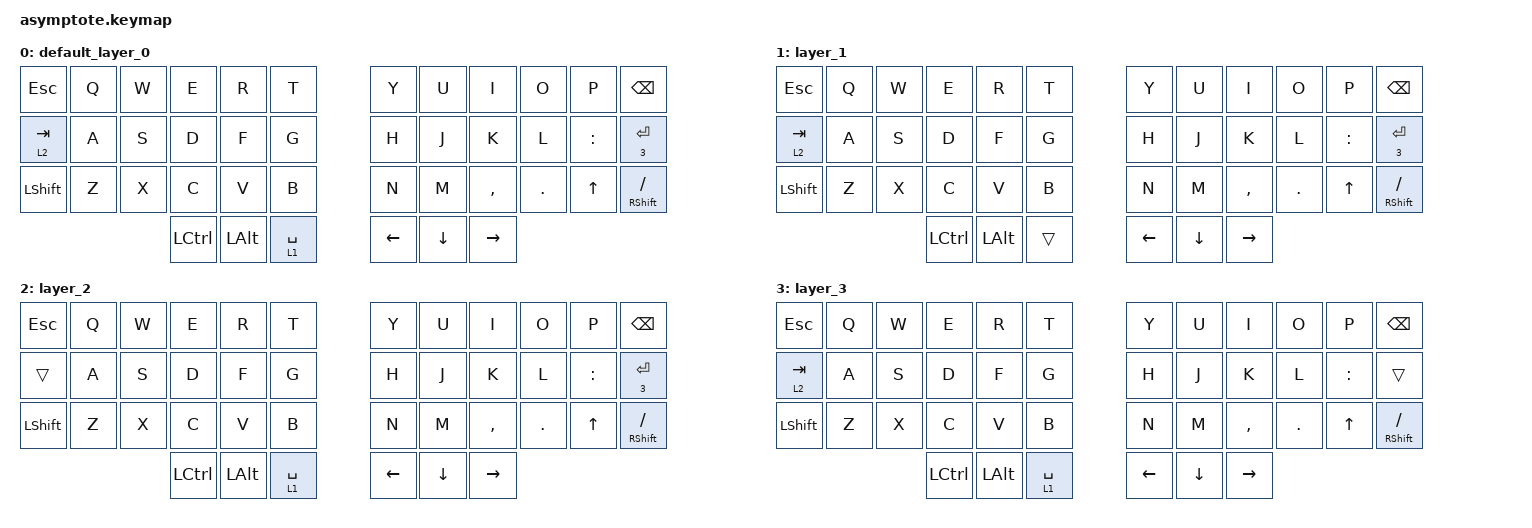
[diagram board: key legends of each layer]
/*
 * Copyright (c) 2020 The ZMK Contributors
 *
 * SPDX-License-Identifier: MIT
 */

#include <behaviors.dtsi>
#include <dt-bindings/zmk/keys.h>
#include <dt-bindings/zmk/bt.h>
#include <dt-bindings/zmk/outputs.h>

&mt {
    tapping-term-ms = <200>; 
};
&lt {
    quick-tap-ms = <400>;
};

/ {
    keymap {
        compatible = "zmk,keymap";

        default_layer_0 {
            bindings = <
    &kp ESC      &kp Q       &kp W       &kp E       &kp R       &kp T       &kp Y       &kp U       &kp I       &kp O       &kp P       &kp BSPC     
    &lt 2 TAB     &kp A       &kp S       &kp D       &kp F       &kp G       &kp H       &kp J       &kp K       &kp L       &kp COLON   &mt 3 RET     
    &kp LSHFT      &kp Z       &kp X       &kp C       &kp V       &kp B       &kp N       &kp M       &kp COMMA   &kp DOT     &kp UP      &mt RSHIFT SLASH
    &kp LCTRL      &kp LALT                                        &lt 1 SPACE                                      &kp LEFT   &kp DOWN    &kp RIGHT 
            >;
        };
	
        layer_1 {
            bindings = <
    &kp ESC      &kp Q       &kp W       &kp E       &kp R       &kp T       &kp Y       &kp U       &kp I       &kp O       &kp P       &kp BSPC     
    &lt 2 TAB     &kp A       &kp S       &kp D       &kp F       &kp G       &kp H       &kp J       &kp K       &kp L       &kp COLON   &mt 3 RET     
    &kp LSHFT      &kp Z       &kp X       &kp C       &kp V       &kp B       &kp N       &kp M       &kp COMMA   &kp DOT     &kp UP      &mt RSHIFT SLASH
    &kp LCTRL      &kp LALT                                        &trans                                      &kp LEFT   &kp DOWN    &kp RIGHT   
            >;
        };

    	layer_2 {
            bindings = <
    &kp ESC      &kp Q       &kp W       &kp E       &kp R       &kp T       &kp Y       &kp U       &kp I       &kp O       &kp P       &kp BSPC     
    &trans        &kp A       &kp S       &kp D       &kp F       &kp G       &kp H       &kp J       &kp K       &kp L       &kp COLON   &mt 3 RET     
    &kp LSHFT      &kp Z       &kp X       &kp C       &kp V       &kp B       &kp N       &kp M       &kp COMMA   &kp DOT     &kp UP      &mt RSHIFT SLASH
    &kp LCTRL      &kp LALT                                        &lt 1 SPACE                                      &kp LEFT   &kp DOWN    &kp RIGHT    
            >;
        };

	    layer_3 {
            bindings = <
    &kp ESC      &kp Q       &kp W       &kp E       &kp R       &kp T       &kp Y       &kp U       &kp I       &kp O       &kp P       &kp BSPC     
    &lt 2 TAB     &kp A       &kp S       &kp D       &kp F       &kp G       &kp H       &kp J       &kp K       &kp L       &kp COLON   &trans    
    &kp LSHFT      &kp Z       &kp X       &kp C       &kp V       &kp B       &kp N       &kp M       &kp COMMA   &kp DOT     &kp UP      &mt RSHIFT SLASH
    &kp LCTRL      &kp LALT                                        &lt 1 SPACE                                      &kp LEFT   &kp DOWN    &kp RIGHT 
            >;
        };
    };
};
